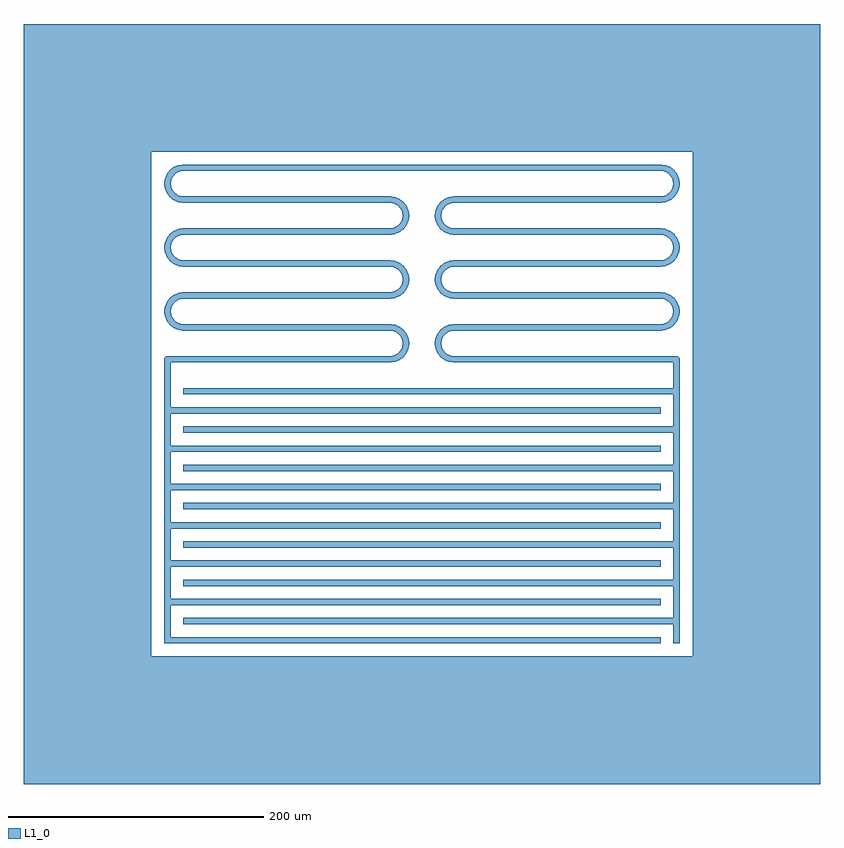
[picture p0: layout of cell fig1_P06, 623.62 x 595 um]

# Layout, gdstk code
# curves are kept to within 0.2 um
import gdstk
lib = gdstk.Library(unit=1e-6, precision=1e-09)
def R(c, l, rs):  # rectangles x0, y0, x1, y1
    for r in rs: c.add(gdstk.rectangle(r[:2], r[2:], *l))
def A(c, l, x, y, w, h, nx, ny, dx, dy):  # array of equal rectangles
    R(c, l, [(x+i*dx, y+j*dy, x+i*dx+w, y+j*dy+h) for i in range(nx) for j in range(ny)])
def P(c, l, *ps):  # polygons
    for p in ps: c.add(gdstk.Polygon(p, *l))
L1_0 = (1, 0)

fig1_p06 = lib.new_cell('fig1_P06')
A(fig1_p06, L1_0, -201.81, 0, 388.62, 5, 1, 7, 0, 30)
A(fig1_p06, L1_0, -186.81, 15, 388.62, 5, 1, 7, 0, 30)
A(fig1_p06, L1_0, -186.81, 245, 161.81, 5, 1, 5, 0, 25)
A(fig1_p06, L1_0, 25, 245, 161.81, 5, 1, 5, 0, 25)
R(fig1_p06, L1_0, [(-311.81,-110,311.81,-10), (-311.81,-10,-211.81,385), (211.81,-10,311.81,385), (-201.81,0,-196.81,200), (196.81,0,201.81,200), (-201.81,197.5,-196.81,222.5), (196.81,197.5,201.81,222.5), (-199.31,220,-25,225), (25,220,199.31,225), (-186.81,370,186.81,375), (-311.81,385,311.81,485)])
P(fig1_p06, L1_0, [(14.979,334.674),(10.021,335.326),(10.447,338.562),(15.405,337.909)],
  [(12.926,335.735),(11.158,336.467),(10.426,338.235),(11.158,340.003),(12.926,340.735),(14.694,340.003),(15.426,338.235),(14.694,336.467)],
  [(12.5,332.5),(10.732,333.232),(10,335),(10.732,336.768),(12.5,337.5),(14.268,336.768),(15,335),(14.268,333.232)],
  [(194.582,347.191),(191.538,351.158),(194.127,353.145),(197.171,349.178)],
  [(191.002,345.616),(189.089,350.236),(192.103,351.484),(194.017,346.865)],
  [(187.136,345.021),(186.484,349.979),(189.719,350.405),(190.372,345.447)],
  [(189.719,369.595),(186.484,370.021),(187.136,374.979),(190.372,374.553)],
  [(192.103,368.516),(189.089,369.764),(191.002,374.384),(194.017,373.135)],
  [(194.127,366.855),(191.538,368.842),(194.582,372.809),(197.171,370.822)],
  [(195.652,364.728),(193.665,367.317),(197.632,370.361),(199.619,367.772)],
  [(196.574,362.279),(195.326,365.293),(199.945,367.207),(201.194,364.192)],
  [(196.831,359.674),(196.405,362.909),(201.363,363.562),(201.789,360.326)],
  [(201.363,356.438),(196.405,357.091),(196.831,360.326),(201.789,359.674)],
  [(186.81,370),(185.042,370.732),(184.31,372.5),(185.042,374.268),(186.81,375),(188.578,374.268),(189.31,372.5),(188.578,370.732)],
  [(190.045,369.574),(188.277,370.306),(187.545,372.074),(188.277,373.842),(190.045,374.574),(191.813,373.842),(192.545,372.074),(191.813,370.306)],
  [(193.06,368.325),(191.292,369.058),(190.56,370.825),(191.292,372.593),(193.06,373.325),(194.828,372.593),(195.56,370.825),(194.828,369.058)],
  [(195.649,366.339),(193.881,367.071),(193.149,368.839),(193.881,370.607),(195.649,371.339),(197.417,370.607),(198.149,368.839),(197.417,367.071)],
  [(197.635,363.75),(195.868,364.482),(195.135,366.25),(195.868,368.018),(197.635,368.75),(199.403,368.018),(200.135,366.25),(199.403,364.482)],
  [(198.884,360.735),(197.116,361.467),(196.384,363.235),(197.116,365.003),(198.884,365.735),(200.652,365.003),(201.384,363.235),(200.652,361.467)],
  [(199.31,357.5),(197.542,358.232),(196.81,360),(197.542,361.768),(199.31,362.5),(201.078,361.768),(201.81,360),(201.078,358.232)],
  [(198.884,354.265),(197.116,354.997),(196.384,356.765),(197.116,358.533),(198.884,359.265),(200.652,358.533),(201.384,356.765),(200.652,354.997)],
  [(197.635,351.25),(195.868,351.982),(195.135,353.75),(195.868,355.518),(197.635,356.25),(199.403,355.518),(200.135,353.75),(199.403,351.982)],
  [(195.649,348.661),(193.881,349.393),(193.149,351.161),(193.881,352.929),(195.649,353.661),(197.417,352.929),(198.149,351.161),(197.417,349.393)],
  [(193.06,346.675),(191.292,347.407),(190.56,349.175),(191.292,350.942),(193.06,351.675),(194.828,350.942),(195.56,349.175),(194.828,347.407)],
  [(190.045,345.426),(188.277,346.158),(187.545,347.926),(188.277,349.694),(190.045,350.426),(191.813,349.694),(192.545,347.926),(191.813,346.158)],
  [(186.81,345),(185.042,345.732),(184.31,347.5),(185.042,349.268),(186.81,350),(188.578,349.268),(189.31,347.5),(188.578,345.732)],
  [(199.945,352.793),(195.326,354.707),(196.574,357.721),(201.194,355.808)],
  [(197.632,349.639),(193.665,352.683),(195.652,355.272),(199.619,352.228)],
  [(19.707,343.516),(17.793,348.135),(20.808,349.384),(22.721,344.764)],
  [(17.683,341.855),(14.639,345.822),(17.228,347.809),(20.272,343.842)],
  [(16.158,339.728),(12.191,342.772),(14.178,345.361),(18.145,342.317)],
  [(25,345),(23.232,345.732),(22.5,347.5),(23.232,349.268),(25,350),(26.768,349.268),(27.5,347.5),(26.768,345.732)],
  [(21.765,344.574),(19.997,345.306),(19.265,347.074),(19.997,348.842),(21.765,349.574),(23.533,348.842),(24.265,347.074),(23.533,345.306)],
  [(18.75,343.325),(16.982,344.058),(16.25,345.825),(16.982,347.593),(18.75,348.325),(20.518,347.593),(21.25,345.825),(20.518,344.058)],
  [(16.161,341.339),(14.393,342.071),(13.661,343.839),(14.393,345.607),(16.161,346.339),(17.929,345.607),(18.661,343.839),(17.929,342.071)],
  [(14.175,338.75),(12.407,339.482),(11.675,341.25),(12.407,343.018),(14.175,343.75),(15.942,343.018),(16.675,341.25),(15.942,339.482)],
  [(15.236,337.279),(10.616,339.192),(11.865,342.207),(16.484,340.293)],
  [(22.091,344.595),(21.438,349.553),(24.674,349.979),(25.326,345.021)],
  [(16.158,239.728),(12.191,242.772),(14.178,245.361),(18.145,242.317)],
  [(15.236,237.279),(10.616,239.192),(11.865,242.207),(16.484,240.293)],
  [(14.979,234.674),(10.021,235.326),(10.447,238.562),(15.405,237.909)],
  [(10.447,231.438),(10.021,234.674),(14.979,235.326),(15.405,232.091)],
  [(11.865,227.793),(10.616,230.808),(15.236,232.721),(16.484,229.707)],
  [(14.178,224.639),(12.191,227.228),(16.158,230.272),(18.145,227.683)],
  [(17.228,222.191),(14.639,224.178),(17.683,228.145),(20.272,226.158)],
  [(20.808,220.616),(17.793,221.865),(19.707,226.484),(22.721,225.236)],
  [(24.674,220.021),(21.438,220.447),(22.091,225.405),(25.326,224.979)],
  [(20.808,320.616),(17.793,321.865),(19.707,326.484),(22.721,325.236)],
  [(24.674,320.021),(21.438,320.447),(22.091,325.405),(25.326,324.979)],
  [(10.447,331.438),(10.021,334.674),(14.979,335.326),(15.405,332.091)],
  [(11.865,327.793),(10.616,330.808),(15.236,332.721),(16.484,329.707)],
  [(22.091,294.595),(21.438,299.553),(24.674,299.979),(25.326,295.021)],
  [(19.707,293.516),(17.793,298.135),(20.808,299.384),(22.721,294.764)],
  [(17.683,291.855),(14.639,295.822),(17.228,297.809),(20.272,293.842)],
  [(16.158,289.728),(12.191,292.772),(14.178,295.361),(18.145,292.317)],
  [(15.236,287.279),(10.616,289.192),(11.865,292.207),(16.484,290.293)],
  [(14.979,284.674),(10.021,285.326),(10.447,288.562),(15.405,287.909)],
  [(10.447,281.438),(10.021,284.674),(14.979,285.326),(15.405,282.091)],
  [(11.865,277.793),(10.616,280.808),(15.236,282.721),(16.484,279.707)],
  [(14.178,274.639),(12.191,277.228),(16.158,280.272),(18.145,277.683)],
  [(17.228,272.191),(14.639,274.178),(17.683,278.145),(20.272,276.158)],
  [(20.808,270.616),(17.793,271.865),(19.707,276.484),(22.721,275.236)],
  [(24.674,270.021),(21.438,270.447),(22.091,275.405),(25.326,274.979)],
  [(14.178,324.639),(12.191,327.228),(16.158,330.272),(18.145,327.683)],
  [(17.228,322.191),(14.639,324.178),(17.683,328.145),(20.272,326.158)],
  [(22.091,244.595),(21.438,249.553),(24.674,249.979),(25.326,245.021)],
  [(19.707,243.516),(17.793,248.135),(20.808,249.384),(22.721,244.764)],
  [(17.683,241.855),(14.639,245.822),(17.228,247.809),(20.272,243.842)],
  [(12.926,329.265),(11.158,329.997),(10.426,331.765),(11.158,333.533),(12.926,334.265),(14.694,333.533),(15.426,331.765),(14.694,329.997)],
  [(14.175,326.25),(12.407,326.982),(11.675,328.75),(12.407,330.518),(14.175,331.25),(15.942,330.518),(16.675,328.75),(15.942,326.982)],
  [(16.161,323.661),(14.393,324.393),(13.661,326.161),(14.393,327.929),(16.161,328.661),(17.929,327.929),(18.661,326.161),(17.929,324.393)],
  [(18.75,321.675),(16.982,322.407),(16.25,324.175),(16.982,325.942),(18.75,326.675),(20.518,325.942),(21.25,324.175),(20.518,322.407)],
  [(21.765,320.426),(19.997,321.158),(19.265,322.926),(19.997,324.694),(21.765,325.426),(23.533,324.694),(24.265,322.926),(23.533,321.158)],
  [(25,320),(23.232,320.732),(22.5,322.5),(23.232,324.268),(25,325),(26.768,324.268),(27.5,322.5),(26.768,320.732)],
  [(25,295),(23.232,295.732),(22.5,297.5),(23.232,299.268),(25,300),(26.768,299.268),(27.5,297.5),(26.768,295.732)],
  [(21.765,294.574),(19.997,295.306),(19.265,297.074),(19.997,298.842),(21.765,299.574),(23.533,298.842),(24.265,297.074),(23.533,295.306)],
  [(18.75,293.325),(16.982,294.058),(16.25,295.825),(16.982,297.593),(18.75,298.325),(20.518,297.593),(21.25,295.825),(20.518,294.058)],
  [(16.161,291.339),(14.393,292.071),(13.661,293.839),(14.393,295.607),(16.161,296.339),(17.929,295.607),(18.661,293.839),(17.929,292.071)],
  [(14.175,288.75),(12.407,289.482),(11.675,291.25),(12.407,293.018),(14.175,293.75),(15.942,293.018),(16.675,291.25),(15.942,289.482)],
  [(12.926,285.735),(11.158,286.467),(10.426,288.235),(11.158,290.003),(12.926,290.735),(14.694,290.003),(15.426,288.235),(14.694,286.467)],
  [(12.5,282.5),(10.732,283.232),(10,285),(10.732,286.768),(12.5,287.5),(14.268,286.768),(15,285),(14.268,283.232)],
  [(12.926,279.265),(11.158,279.997),(10.426,281.765),(11.158,283.533),(12.926,284.265),(14.694,283.533),(15.426,281.765),(14.694,279.997)],
  [(14.175,276.25),(12.407,276.982),(11.675,278.75),(12.407,280.518),(14.175,281.25),(15.942,280.518),(16.675,278.75),(15.942,276.982)],
  [(16.161,273.661),(14.393,274.393),(13.661,276.161),(14.393,277.929),(16.161,278.661),(17.929,277.929),(18.661,276.161),(17.929,274.393)],
  [(18.75,271.675),(16.982,272.407),(16.25,274.175),(16.982,275.942),(18.75,276.675),(20.518,275.942),(21.25,274.175),(20.518,272.407)],
  [(21.765,270.426),(19.997,271.158),(19.265,272.926),(19.997,274.694),(21.765,275.426),(23.533,274.694),(24.265,272.926),(23.533,271.158)],
  [(25,270),(23.232,270.732),(22.5,272.5),(23.232,274.268),(25,275),(26.768,274.268),(27.5,272.5),(26.768,270.732)],
  [(25,245),(23.232,245.732),(22.5,247.5),(23.232,249.268),(25,250),(26.768,249.268),(27.5,247.5),(26.768,245.732)],
  [(21.765,244.574),(19.997,245.306),(19.265,247.074),(19.997,248.842),(21.765,249.574),(23.533,248.842),(24.265,247.074),(23.533,245.306)],
  [(18.75,243.325),(16.982,244.058),(16.25,245.825),(16.982,247.593),(18.75,248.325),(20.518,247.593),(21.25,245.825),(20.518,244.058)],
  [(16.161,241.339),(14.393,242.071),(13.661,243.839),(14.393,245.607),(16.161,246.339),(17.929,245.607),(18.661,243.839),(17.929,242.071)],
  [(14.175,238.75),(12.407,239.482),(11.675,241.25),(12.407,243.018),(14.175,243.75),(15.942,243.018),(16.675,241.25),(15.942,239.482)],
  [(12.926,235.735),(11.158,236.467),(10.426,238.235),(11.158,240.003),(12.926,240.735),(14.694,240.003),(15.426,238.235),(14.694,236.467)],
  [(12.5,232.5),(10.732,233.232),(10,235),(10.732,236.768),(12.5,237.5),(14.268,236.768),(15,235),(14.268,233.232)],
  [(12.926,229.265),(11.158,229.997),(10.426,231.765),(11.158,233.533),(12.926,234.265),(14.694,233.533),(15.426,231.765),(14.694,229.997)],
  [(14.175,226.25),(12.407,226.982),(11.675,228.75),(12.407,230.518),(14.175,231.25),(15.942,230.518),(16.675,228.75),(15.942,226.982)],
  [(16.161,223.661),(14.393,224.393),(13.661,226.161),(14.393,227.929),(16.161,228.661),(17.929,227.929),(18.661,226.161),(17.929,224.393)],
  [(18.75,221.675),(16.982,222.407),(16.25,224.175),(16.982,225.942),(18.75,226.675),(20.518,225.942),(21.25,224.175),(20.518,222.407)],
  [(21.765,220.426),(19.997,221.158),(19.265,222.926),(19.997,224.694),(21.765,225.426),(23.533,224.694),(24.265,222.926),(23.533,221.158)],
  [(25,220),(23.232,220.732),(22.5,222.5),(23.232,224.268),(25,225),(26.768,224.268),(27.5,222.5),(26.768,220.732)],
  [(190.045,319.574),(188.277,320.306),(187.545,322.074),(188.277,323.842),(190.045,324.574),(191.813,323.842),(192.545,322.074),(191.813,320.306)],
  [(193.06,318.325),(191.292,319.058),(190.56,320.825),(191.292,322.593),(193.06,323.325),(194.828,322.593),(195.56,320.825),(194.828,319.058)],
  [(195.649,316.339),(193.881,317.071),(193.149,318.839),(193.881,320.607),(195.649,321.339),(197.417,320.607),(198.149,318.839),(197.417,317.071)],
  [(197.635,313.75),(195.868,314.482),(195.135,316.25),(195.868,318.018),(197.635,318.75),(199.403,318.018),(200.135,316.25),(199.403,314.482)],
  [(198.884,310.735),(197.116,311.467),(196.384,313.235),(197.116,315.003),(198.884,315.735),(200.652,315.003),(201.384,313.235),(200.652,311.467)],
  [(199.31,307.5),(197.542,308.232),(196.81,310),(197.542,311.768),(199.31,312.5),(201.078,311.768),(201.81,310),(201.078,308.232)],
  [(198.884,304.265),(197.116,304.997),(196.384,306.765),(197.116,308.533),(198.884,309.265),(200.652,308.533),(201.384,306.765),(200.652,304.997)],
  [(197.635,301.25),(195.868,301.982),(195.135,303.75),(195.868,305.518),(197.635,306.25),(199.403,305.518),(200.135,303.75),(199.403,301.982)],
  [(195.649,298.661),(193.881,299.393),(193.149,301.161),(193.881,302.929),(195.649,303.661),(197.417,302.929),(198.149,301.161),(197.417,299.393)],
  [(193.06,296.675),(191.292,297.407),(190.56,299.175),(191.292,300.942),(193.06,301.675),(194.828,300.942),(195.56,299.175),(194.828,297.407)],
  [(190.045,295.426),(188.277,296.158),(187.545,297.926),(188.277,299.694),(190.045,300.426),(191.813,299.694),(192.545,297.926),(191.813,296.158)],
  [(186.81,295),(185.042,295.732),(184.31,297.5),(185.042,299.268),(186.81,300),(188.578,299.268),(189.31,297.5),(188.578,295.732)],
  [(194.127,266.855),(191.538,268.842),(194.582,272.809),(197.171,270.822)],
  [(195.652,264.728),(193.665,267.317),(197.632,270.361),(199.619,267.772)],
  [(196.574,262.279),(195.326,265.293),(199.945,267.207),(201.194,264.192)],
  [(196.831,259.674),(196.405,262.909),(201.363,263.562),(201.789,260.326)],
  [(201.363,256.438),(196.405,257.091),(196.831,260.326),(201.789,259.674)],
  [(199.945,252.793),(195.326,254.707),(196.574,257.721),(201.194,255.808)],
  [(197.632,249.639),(193.665,252.683),(195.652,255.272),(199.619,252.228)],
  [(194.582,247.191),(191.538,251.158),(194.127,253.145),(197.171,249.178)],
  [(191.002,245.616),(189.089,250.236),(192.103,251.484),(194.017,246.865)],
  [(187.136,245.021),(186.484,249.979),(189.719,250.405),(190.372,245.447)],
  [(189.719,319.595),(186.484,320.021),(187.136,324.979),(190.372,324.553)],
  [(192.103,318.516),(189.089,319.764),(191.002,324.384),(194.017,323.135)],
  [(194.127,316.855),(191.538,318.842),(194.582,322.809),(197.171,320.822)],
  [(186.81,270),(185.042,270.732),(184.31,272.5),(185.042,274.268),(186.81,275),(188.578,274.268),(189.31,272.5),(188.578,270.732)],
  [(190.045,269.574),(188.277,270.306),(187.545,272.074),(188.277,273.842),(190.045,274.574),(191.813,273.842),(192.545,272.074),(191.813,270.306)],
  [(193.06,268.325),(191.292,269.058),(190.56,270.825),(191.292,272.593),(193.06,273.325),(194.828,272.593),(195.56,270.825),(194.828,269.058)],
  [(195.649,266.339),(193.881,267.071),(193.149,268.839),(193.881,270.607),(195.649,271.339),(197.417,270.607),(198.149,268.839),(197.417,267.071)],
  [(197.635,263.75),(195.868,264.482),(195.135,266.25),(195.868,268.018),(197.635,268.75),(199.403,268.018),(200.135,266.25),(199.403,264.482)],
  [(198.884,260.735),(197.116,261.467),(196.384,263.235),(197.116,265.003),(198.884,265.735),(200.652,265.003),(201.384,263.235),(200.652,261.467)],
  [(199.31,257.5),(197.542,258.232),(196.81,260),(197.542,261.768),(199.31,262.5),(201.078,261.768),(201.81,260),(201.078,258.232)],
  [(198.884,254.265),(197.116,254.997),(196.384,256.765),(197.116,258.533),(198.884,259.265),(200.652,258.533),(201.384,256.765),(200.652,254.997)],
  [(197.635,251.25),(195.868,251.982),(195.135,253.75),(195.868,255.518),(197.635,256.25),(199.403,255.518),(200.135,253.75),(199.403,251.982)],
  [(195.649,248.661),(193.881,249.393),(193.149,251.161),(193.881,252.929),(195.649,253.661),(197.417,252.929),(198.149,251.161),(197.417,249.393)],
  [(193.06,246.675),(191.292,247.407),(190.56,249.175),(191.292,250.942),(193.06,251.675),(194.828,250.942),(195.56,249.175),(194.828,247.407)],
  [(190.045,245.426),(188.277,246.158),(187.545,247.926),(188.277,249.694),(190.045,250.426),(191.813,249.694),(192.545,247.926),(191.813,246.158)],
  [(186.81,245),(185.042,245.732),(184.31,247.5),(185.042,249.268),(186.81,250),(188.578,249.268),(189.31,247.5),(188.578,245.732)],
  [(195.652,314.728),(193.665,317.317),(197.632,320.361),(199.619,317.772)],
  [(196.574,312.279),(195.326,315.293),(199.945,317.207),(201.194,314.192)],
  [(196.831,309.674),(196.405,312.909),(201.363,313.562),(201.789,310.326)],
  [(201.363,306.438),(196.405,307.091),(196.831,310.326),(201.789,309.674)],
  [(199.945,302.793),(195.326,304.707),(196.574,307.721),(201.194,305.808)],
  [(197.632,299.639),(193.665,302.683),(195.652,305.272),(199.619,302.228)],
  [(194.582,297.191),(191.538,301.158),(194.127,303.145),(197.171,299.178)],
  [(191.002,295.616),(189.089,300.236),(192.103,301.484),(194.017,296.865)],
  [(187.136,295.021),(186.484,299.979),(189.719,300.405),(190.372,295.447)],
  [(189.719,269.595),(186.484,270.021),(187.136,274.979),(190.372,274.553)],
  [(192.103,268.516),(189.089,269.764),(191.002,274.384),(194.017,273.135)],
  [(186.81,320),(185.042,320.732),(184.31,322.5),(185.042,324.268),(186.81,325),(188.578,324.268),(189.31,322.5),(188.578,320.732)],
  [(199.31,220),(197.542,220.732),(196.81,222.5),(197.542,224.268),(199.31,225),(201.078,224.268),(201.81,222.5),(201.078,220.732)],
  [(-12.5,332.5),(-14.268,333.232),(-15,335),(-14.268,336.768),(-12.5,337.5),(-10.732,336.768),(-10,335),(-10.732,333.232)],
  [(-12.926,335.735),(-14.694,336.467),(-15.426,338.235),(-14.694,340.003),(-12.926,340.735),(-11.158,340.003),(-10.426,338.235),(-11.158,336.467)],
  [(-14.979,334.674),(-15.405,337.909),(-10.447,338.562),(-10.021,335.326)],
  [(-18.75,343.325),(-20.518,344.058),(-21.25,345.825),(-20.518,347.593),(-18.75,348.325),(-16.982,347.593),(-16.25,345.825),(-16.982,344.058)],
  [(-21.765,344.574),(-23.533,345.306),(-24.265,347.074),(-23.533,348.842),(-21.765,349.574),(-19.997,348.842),(-19.265,347.074),(-19.997,345.306)],
  [(-25,345),(-26.768,345.732),(-27.5,347.5),(-26.768,349.268),(-25,350),(-23.232,349.268),(-22.5,347.5),(-23.232,345.732)],
  [(-14.175,338.75),(-15.942,339.482),(-16.675,341.25),(-15.942,343.018),(-14.175,343.75),(-12.407,343.018),(-11.675,341.25),(-12.407,339.482)],
  [(-15.236,337.279),(-16.484,340.293),(-11.865,342.207),(-10.616,339.192)],
  [(-16.158,339.728),(-18.145,342.317),(-14.178,345.361),(-12.191,342.772)],
  [(-17.683,341.855),(-20.272,343.842),(-17.228,347.809),(-14.639,345.822)],
  [(-19.707,343.516),(-22.721,344.764),(-20.808,349.384),(-17.793,348.135)],
  [(-22.091,344.595),(-25.326,345.021),(-24.674,349.979),(-21.438,349.553)],
  [(-16.161,341.339),(-17.929,342.071),(-18.661,343.839),(-17.929,345.607),(-16.161,346.339),(-14.393,345.607),(-13.661,343.839),(-14.393,342.071)],
  [(-186.81,370),(-188.578,370.732),(-189.31,372.5),(-188.578,374.268),(-186.81,375),(-185.042,374.268),(-184.31,372.5),(-185.042,370.732)],
  [(-186.81,345),(-188.578,345.732),(-189.31,347.5),(-188.578,349.268),(-186.81,350),(-185.042,349.268),(-184.31,347.5),(-185.042,345.732)],
  [(-190.045,345.426),(-191.813,346.158),(-192.545,347.926),(-191.813,349.694),(-190.045,350.426),(-188.277,349.694),(-187.545,347.926),(-188.277,346.158)],
  [(-193.06,346.675),(-194.828,347.407),(-195.56,349.175),(-194.828,350.942),(-193.06,351.675),(-191.292,350.942),(-190.56,349.175),(-191.292,347.407)],
  [(-195.649,348.661),(-197.417,349.393),(-198.149,351.161),(-197.417,352.929),(-195.649,353.661),(-193.881,352.929),(-193.149,351.161),(-193.881,349.393)],
  [(-197.635,351.25),(-199.403,351.982),(-200.135,353.75),(-199.403,355.518),(-197.635,356.25),(-195.868,355.518),(-195.135,353.75),(-195.868,351.982)],
  [(-198.884,354.265),(-200.652,354.997),(-201.384,356.765),(-200.652,358.533),(-198.884,359.265),(-197.116,358.533),(-196.384,356.765),(-197.116,354.997)],
  [(-199.31,357.5),(-201.078,358.232),(-201.81,360),(-201.078,361.768),(-199.31,362.5),(-197.542,361.768),(-196.81,360),(-197.542,358.232)],
  [(-198.884,360.735),(-200.652,361.467),(-201.384,363.235),(-200.652,365.003),(-198.884,365.735),(-197.116,365.003),(-196.384,363.235),(-197.116,361.467)],
  [(-197.635,363.75),(-199.403,364.482),(-200.135,366.25),(-199.403,368.018),(-197.635,368.75),(-195.868,368.018),(-195.135,366.25),(-195.868,364.482)],
  [(-195.649,366.339),(-197.417,367.071),(-198.149,368.839),(-197.417,370.607),(-195.649,371.339),(-193.881,370.607),(-193.149,368.839),(-193.881,367.071)],
  [(-193.06,368.325),(-194.828,369.058),(-195.56,370.825),(-194.828,372.593),(-193.06,373.325),(-191.292,372.593),(-190.56,370.825),(-191.292,369.058)],
  [(-190.045,369.574),(-191.813,370.306),(-192.545,372.074),(-191.813,373.842),(-190.045,374.574),(-188.277,373.842),(-187.545,372.074),(-188.277,370.306)],
  [(-187.136,345.021),(-190.372,345.447),(-189.719,350.405),(-186.484,349.979)],
  [(-191.002,345.616),(-194.017,346.865),(-192.103,351.484),(-189.089,350.236)],
  [(-194.582,347.191),(-197.171,349.178),(-194.127,353.145),(-191.538,351.158)],
  [(-197.632,349.639),(-199.619,352.228),(-195.652,355.272),(-193.665,352.683)],
  [(-199.945,352.793),(-201.194,355.808),(-196.574,357.721),(-195.326,354.707)],
  [(-201.363,356.438),(-201.789,359.674),(-196.831,360.326),(-196.405,357.091)],
  [(-196.831,359.674),(-201.789,360.326),(-201.363,363.562),(-196.405,362.909)],
  [(-196.574,362.279),(-201.194,364.192),(-199.945,367.207),(-195.326,365.293)],
  [(-195.652,364.728),(-199.619,367.772),(-197.632,370.361),(-193.665,367.317)],
  [(-194.127,366.855),(-197.171,370.822),(-194.582,372.809),(-191.538,368.842)],
  [(-192.103,368.516),(-194.017,373.135),(-191.002,374.384),(-189.089,369.764)],
  [(-189.719,369.595),(-190.372,374.553),(-187.136,374.979),(-186.484,370.021)],
  [(-195.649,298.661),(-197.417,299.393),(-198.149,301.161),(-197.417,302.929),(-195.649,303.661),(-193.881,302.929),(-193.149,301.161),(-193.881,299.393)],
  [(-197.635,301.25),(-199.403,301.982),(-200.135,303.75),(-199.403,305.518),(-197.635,306.25),(-195.868,305.518),(-195.135,303.75),(-195.868,301.982)],
  [(-198.884,304.265),(-200.652,304.997),(-201.384,306.765),(-200.652,308.533),(-198.884,309.265),(-197.116,308.533),(-196.384,306.765),(-197.116,304.997)],
  [(-199.31,307.5),(-201.078,308.232),(-201.81,310),(-201.078,311.768),(-199.31,312.5),(-197.542,311.768),(-196.81,310),(-197.542,308.232)],
  [(-198.884,310.735),(-200.652,311.467),(-201.384,313.235),(-200.652,315.003),(-198.884,315.735),(-197.116,315.003),(-196.384,313.235),(-197.116,311.467)],
  [(-187.136,245.021),(-190.372,245.447),(-189.719,250.405),(-186.484,249.979)],
  [(-191.002,245.616),(-194.017,246.865),(-192.103,251.484),(-189.089,250.236)],
  [(-194.582,247.191),(-197.171,249.178),(-194.127,253.145),(-191.538,251.158)],
  [(-197.632,249.639),(-199.619,252.228),(-195.652,255.272),(-193.665,252.683)],
  [(-199.945,252.793),(-201.194,255.808),(-196.574,257.721),(-195.326,254.707)],
  [(-201.363,256.438),(-201.789,259.674),(-196.831,260.326),(-196.405,257.091)],
  [(-196.831,259.674),(-201.789,260.326),(-201.363,263.562),(-196.405,262.909)],
  [(-196.574,262.279),(-201.194,264.192),(-199.945,267.207),(-195.326,265.293)],
  [(-195.652,264.728),(-199.619,267.772),(-197.632,270.361),(-193.665,267.317)],
  [(-194.127,266.855),(-197.171,270.822),(-194.582,272.809),(-191.538,268.842)],
  [(-192.103,268.516),(-194.017,273.135),(-191.002,274.384),(-189.089,269.764)],
  [(-189.719,269.595),(-190.372,274.553),(-187.136,274.979),(-186.484,270.021)],
  [(-197.635,313.75),(-199.403,314.482),(-200.135,316.25),(-199.403,318.018),(-197.635,318.75),(-195.868,318.018),(-195.135,316.25),(-195.868,314.482)],
  [(-195.649,316.339),(-197.417,317.071),(-198.149,318.839),(-197.417,320.607),(-195.649,321.339),(-193.881,320.607),(-193.149,318.839),(-193.881,317.071)],
  [(-187.136,295.021),(-190.372,295.447),(-189.719,300.405),(-186.484,299.979)],
  [(-191.002,295.616),(-194.017,296.865),(-192.103,301.484),(-189.089,300.236)],
  [(-194.582,297.191),(-197.171,299.178),(-194.127,303.145),(-191.538,301.158)],
  [(-197.632,299.639),(-199.619,302.228),(-195.652,305.272),(-193.665,302.683)],
  [(-199.945,302.793),(-201.194,305.808),(-196.574,307.721),(-195.326,304.707)],
  [(-201.363,306.438),(-201.789,309.674),(-196.831,310.326),(-196.405,307.091)],
  [(-196.831,309.674),(-201.789,310.326),(-201.363,313.562),(-196.405,312.909)],
  [(-196.574,312.279),(-201.194,314.192),(-199.945,317.207),(-195.326,315.293)],
  [(-195.652,314.728),(-199.619,317.772),(-197.632,320.361),(-193.665,317.317)],
  [(-194.127,316.855),(-197.171,320.822),(-194.582,322.809),(-191.538,318.842)],
  [(-192.103,318.516),(-194.017,323.135),(-191.002,324.384),(-189.089,319.764)],
  [(-189.719,319.595),(-190.372,324.553),(-187.136,324.979),(-186.484,320.021)],
  [(-193.06,318.325),(-194.828,319.058),(-195.56,320.825),(-194.828,322.593),(-193.06,323.325),(-191.292,322.593),(-190.56,320.825),(-191.292,319.058)],
  [(-190.045,319.574),(-191.813,320.306),(-192.545,322.074),(-191.813,323.842),(-190.045,324.574),(-188.277,323.842),(-187.545,322.074),(-188.277,320.306)],
  [(-186.81,320),(-188.578,320.732),(-189.31,322.5),(-188.578,324.268),(-186.81,325),(-185.042,324.268),(-184.31,322.5),(-185.042,320.732)],
  [(-199.31,220),(-201.078,220.732),(-201.81,222.5),(-201.078,224.268),(-199.31,225),(-197.542,224.268),(-196.81,222.5),(-197.542,220.732)],
  [(-186.81,245),(-188.578,245.732),(-189.31,247.5),(-188.578,249.268),(-186.81,250),(-185.042,249.268),(-184.31,247.5),(-185.042,245.732)],
  [(-190.045,245.426),(-191.813,246.158),(-192.545,247.926),(-191.813,249.694),(-190.045,250.426),(-188.277,249.694),(-187.545,247.926),(-188.277,246.158)],
  [(-193.06,246.675),(-194.828,247.407),(-195.56,249.175),(-194.828,250.942),(-193.06,251.675),(-191.292,250.942),(-190.56,249.175),(-191.292,247.407)],
  [(-195.649,248.661),(-197.417,249.393),(-198.149,251.161),(-197.417,252.929),(-195.649,253.661),(-193.881,252.929),(-193.149,251.161),(-193.881,249.393)],
  [(-197.635,251.25),(-199.403,251.982),(-200.135,253.75),(-199.403,255.518),(-197.635,256.25),(-195.868,255.518),(-195.135,253.75),(-195.868,251.982)],
  [(-198.884,254.265),(-200.652,254.997),(-201.384,256.765),(-200.652,258.533),(-198.884,259.265),(-197.116,258.533),(-196.384,256.765),(-197.116,254.997)],
  [(-199.31,257.5),(-201.078,258.232),(-201.81,260),(-201.078,261.768),(-199.31,262.5),(-197.542,261.768),(-196.81,260),(-197.542,258.232)],
  [(-198.884,260.735),(-200.652,261.467),(-201.384,263.235),(-200.652,265.003),(-198.884,265.735),(-197.116,265.003),(-196.384,263.235),(-197.116,261.467)],
  [(-197.635,263.75),(-199.403,264.482),(-200.135,266.25),(-199.403,268.018),(-197.635,268.75),(-195.868,268.018),(-195.135,266.25),(-195.868,264.482)],
  [(-195.649,266.339),(-197.417,267.071),(-198.149,268.839),(-197.417,270.607),(-195.649,271.339),(-193.881,270.607),(-193.149,268.839),(-193.881,267.071)],
  [(-193.06,268.325),(-194.828,269.058),(-195.56,270.825),(-194.828,272.593),(-193.06,273.325),(-191.292,272.593),(-190.56,270.825),(-191.292,269.058)],
  [(-190.045,269.574),(-191.813,270.306),(-192.545,272.074),(-191.813,273.842),(-190.045,274.574),(-188.277,273.842),(-187.545,272.074),(-188.277,270.306)],
  [(-186.81,270),(-188.578,270.732),(-189.31,272.5),(-188.578,274.268),(-186.81,275),(-185.042,274.268),(-184.31,272.5),(-185.042,270.732)],
  [(-186.81,295),(-188.578,295.732),(-189.31,297.5),(-188.578,299.268),(-186.81,300),(-185.042,299.268),(-184.31,297.5),(-185.042,295.732)],
  [(-190.045,295.426),(-191.813,296.158),(-192.545,297.926),(-191.813,299.694),(-190.045,300.426),(-188.277,299.694),(-187.545,297.926),(-188.277,296.158)],
  [(-193.06,296.675),(-194.828,297.407),(-195.56,299.175),(-194.828,300.942),(-193.06,301.675),(-191.292,300.942),(-190.56,299.175),(-191.292,297.407)],
  [(-25,245),(-26.768,245.732),(-27.5,247.5),(-26.768,249.268),(-25,250),(-23.232,249.268),(-22.5,247.5),(-23.232,245.732)],
  [(-25,320),(-26.768,320.732),(-27.5,322.5),(-26.768,324.268),(-25,325),(-23.232,324.268),(-22.5,322.5),(-23.232,320.732)],
  [(-21.765,320.426),(-23.533,321.158),(-24.265,322.926),(-23.533,324.694),(-21.765,325.426),(-19.997,324.694),(-19.265,322.926),(-19.997,321.158)],
  [(-18.75,321.675),(-20.518,322.407),(-21.25,324.175),(-20.518,325.942),(-18.75,326.675),(-16.982,325.942),(-16.25,324.175),(-16.982,322.407)],
  [(-16.161,323.661),(-17.929,324.393),(-18.661,326.161),(-17.929,327.929),(-16.161,328.661),(-14.393,327.929),(-13.661,326.161),(-14.393,324.393)],
  [(-14.175,326.25),(-15.942,326.982),(-16.675,328.75),(-15.942,330.518),(-14.175,331.25),(-12.407,330.518),(-11.675,328.75),(-12.407,326.982)],
  [(-12.926,329.265),(-14.694,329.997),(-15.426,331.765),(-14.694,333.533),(-12.926,334.265),(-11.158,333.533),(-10.426,331.765),(-11.158,329.997)],
  [(-25,270),(-26.768,270.732),(-27.5,272.5),(-26.768,274.268),(-25,275),(-23.232,274.268),(-22.5,272.5),(-23.232,270.732)],
  [(-21.765,270.426),(-23.533,271.158),(-24.265,272.926),(-23.533,274.694),(-21.765,275.426),(-19.997,274.694),(-19.265,272.926),(-19.997,271.158)],
  [(-18.75,271.675),(-20.518,272.407),(-21.25,274.175),(-20.518,275.942),(-18.75,276.675),(-16.982,275.942),(-16.25,274.175),(-16.982,272.407)],
  [(-16.161,273.661),(-17.929,274.393),(-18.661,276.161),(-17.929,277.929),(-16.161,278.661),(-14.393,277.929),(-13.661,276.161),(-14.393,274.393)],
  [(-24.674,270.021),(-25.326,274.979),(-22.091,275.405),(-21.438,270.447)],
  [(-20.808,270.616),(-22.721,275.236),(-19.707,276.484),(-17.793,271.865)],
  [(-17.228,272.191),(-20.272,276.158),(-17.683,278.145),(-14.639,274.178)],
  [(-14.178,274.639),(-18.145,277.683),(-16.158,280.272),(-12.191,277.228)],
  [(-11.865,277.793),(-16.484,279.707),(-15.236,282.721),(-10.616,280.808)],
  [(-10.447,281.438),(-15.405,282.091),(-14.979,285.326),(-10.021,284.674)],
  [(-14.979,284.674),(-15.405,287.909),(-10.447,288.562),(-10.021,285.326)],
  [(-15.236,287.279),(-16.484,290.293),(-11.865,292.207),(-10.616,289.192)],
  [(-16.158,289.728),(-18.145,292.317),(-14.178,295.361),(-12.191,292.772)],
  [(-17.683,291.855),(-20.272,293.842),(-17.228,297.809),(-14.639,295.822)],
  [(-19.707,293.516),(-22.721,294.764),(-20.808,299.384),(-17.793,298.135)],
  [(-22.091,294.595),(-25.326,295.021),(-24.674,299.979),(-21.438,299.553)],
  [(-14.175,276.25),(-15.942,276.982),(-16.675,278.75),(-15.942,280.518),(-14.175,281.25),(-12.407,280.518),(-11.675,278.75),(-12.407,276.982)],
  [(-12.926,279.265),(-14.694,279.997),(-15.426,281.765),(-14.694,283.533),(-12.926,284.265),(-11.158,283.533),(-10.426,281.765),(-11.158,279.997)],
  [(-12.5,282.5),(-14.268,283.232),(-15,285),(-14.268,286.768),(-12.5,287.5),(-10.732,286.768),(-10,285),(-10.732,283.232)],
  [(-12.926,285.735),(-14.694,286.467),(-15.426,288.235),(-14.694,290.003),(-12.926,290.735),(-11.158,290.003),(-10.426,288.235),(-11.158,286.467)],
  [(-14.175,288.75),(-15.942,289.482),(-16.675,291.25),(-15.942,293.018),(-14.175,293.75),(-12.407,293.018),(-11.675,291.25),(-12.407,289.482)],
  [(-16.161,291.339),(-17.929,292.071),(-18.661,293.839),(-17.929,295.607),(-16.161,296.339),(-14.393,295.607),(-13.661,293.839),(-14.393,292.071)],
  [(-18.75,293.325),(-20.518,294.058),(-21.25,295.825),(-20.518,297.593),(-18.75,298.325),(-16.982,297.593),(-16.25,295.825),(-16.982,294.058)],
  [(-21.765,294.574),(-23.533,295.306),(-24.265,297.074),(-23.533,298.842),(-21.765,299.574),(-19.997,298.842),(-19.265,297.074),(-19.997,295.306)],
  [(-25,295),(-26.768,295.732),(-27.5,297.5),(-26.768,299.268),(-25,300),(-23.232,299.268),(-22.5,297.5),(-23.232,295.732)],
  [(-25,220),(-26.768,220.732),(-27.5,222.5),(-26.768,224.268),(-25,225),(-23.232,224.268),(-22.5,222.5),(-23.232,220.732)],
  [(-21.765,220.426),(-23.533,221.158),(-24.265,222.926),(-23.533,224.694),(-21.765,225.426),(-19.997,224.694),(-19.265,222.926),(-19.997,221.158)],
  [(-18.75,221.675),(-20.518,222.407),(-21.25,224.175),(-20.518,225.942),(-18.75,226.675),(-16.982,225.942),(-16.25,224.175),(-16.982,222.407)],
  [(-16.161,223.661),(-17.929,224.393),(-18.661,226.161),(-17.929,227.929),(-16.161,228.661),(-14.393,227.929),(-13.661,226.161),(-14.393,224.393)],
  [(-14.175,226.25),(-15.942,226.982),(-16.675,228.75),(-15.942,230.518),(-14.175,231.25),(-12.407,230.518),(-11.675,228.75),(-12.407,226.982)],
  [(-24.674,320.021),(-25.326,324.979),(-22.091,325.405),(-21.438,320.447)],
  [(-20.808,320.616),(-22.721,325.236),(-19.707,326.484),(-17.793,321.865)],
  [(-17.228,322.191),(-20.272,326.158),(-17.683,328.145),(-14.639,324.178)],
  [(-14.178,324.639),(-18.145,327.683),(-16.158,330.272),(-12.191,327.228)],
  [(-11.865,327.793),(-16.484,329.707),(-15.236,332.721),(-10.616,330.808)],
  [(-10.447,331.438),(-15.405,332.091),(-14.979,335.326),(-10.021,334.674)],
  [(-12.926,229.265),(-14.694,229.997),(-15.426,231.765),(-14.694,233.533),(-12.926,234.265),(-11.158,233.533),(-10.426,231.765),(-11.158,229.997)],
  [(-12.5,232.5),(-14.268,233.232),(-15,235),(-14.268,236.768),(-12.5,237.5),(-10.732,236.768),(-10,235),(-10.732,233.232)],
  [(-12.926,235.735),(-14.694,236.467),(-15.426,238.235),(-14.694,240.003),(-12.926,240.735),(-11.158,240.003),(-10.426,238.235),(-11.158,236.467)],
  [(-14.175,238.75),(-15.942,239.482),(-16.675,241.25),(-15.942,243.018),(-14.175,243.75),(-12.407,243.018),(-11.675,241.25),(-12.407,239.482)],
  [(-24.674,220.021),(-25.326,224.979),(-22.091,225.405),(-21.438,220.447)],
  [(-20.808,220.616),(-22.721,225.236),(-19.707,226.484),(-17.793,221.865)],
  [(-17.228,222.191),(-20.272,226.158),(-17.683,228.145),(-14.639,224.178)],
  [(-14.178,224.639),(-18.145,227.683),(-16.158,230.272),(-12.191,227.228)],
  [(-11.865,227.793),(-16.484,229.707),(-15.236,232.721),(-10.616,230.808)],
  [(-10.447,231.438),(-15.405,232.091),(-14.979,235.326),(-10.021,234.674)],
  [(-14.979,234.674),(-15.405,237.909),(-10.447,238.562),(-10.021,235.326)],
  [(-15.236,237.279),(-16.484,240.293),(-11.865,242.207),(-10.616,239.192)],
  [(-16.158,239.728),(-18.145,242.317),(-14.178,245.361),(-12.191,242.772)],
  [(-17.683,241.855),(-20.272,243.842),(-17.228,247.809),(-14.639,245.822)],
  [(-19.707,243.516),(-22.721,244.764),(-20.808,249.384),(-17.793,248.135)],
  [(-22.091,244.595),(-25.326,245.021),(-24.674,249.979),(-21.438,249.553)],
  [(-16.161,241.339),(-17.929,242.071),(-18.661,243.839),(-17.929,245.607),(-16.161,246.339),(-14.393,245.607),(-13.661,243.839),(-14.393,242.071)],
  [(-18.75,243.325),(-20.518,244.058),(-21.25,245.825),(-20.518,247.593),(-18.75,248.325),(-16.982,247.593),(-16.25,245.825),(-16.982,244.058)],
  [(-21.765,244.574),(-23.533,245.306),(-24.265,247.074),(-23.533,248.842),(-21.765,249.574),(-19.997,248.842),(-19.265,247.074),(-19.997,245.306)])

lib.write_gds('fig1_P06.gds')
